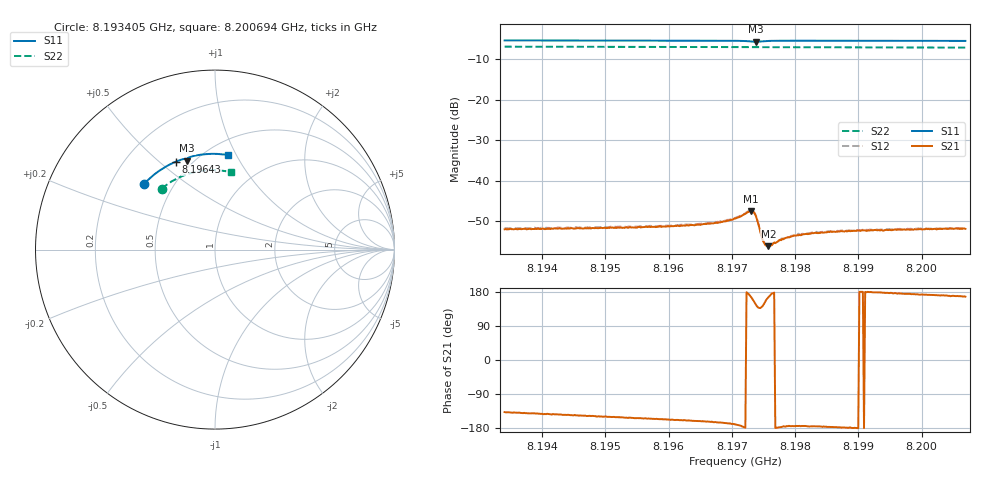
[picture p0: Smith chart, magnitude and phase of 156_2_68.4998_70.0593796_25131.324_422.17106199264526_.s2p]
#  HZ  S  RI  R  50.00
! Rohde & Schwarz Vector Network Analyzer
! Rohde-Schwarz,ZNB20-2Port,1311601062101988,3.16
! Created: UTC 3/20/2024, 5:10:44 PM
! freq[Hz]  re:S11  im:S11  re:S21  im:S21  re:S12  im:S12  re:S22  im:S22
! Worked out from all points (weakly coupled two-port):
!   401 points, 8.193405 GHz to 8.200694 GHz, reference 50 ohm
!   highest |S21| = -47.46 dB at 8.197305 GHz (marker M1); lowest = -56.1 dB at 8.197578 GHz (marker M2)
!   lowest |S11| = -5.7 dB at 8.197378 GHz (marker M3), VSWR 3.16, Z = 23.1 + j31.4 ohm
!   |S11| at or under -10 dB: nowhere
!   |S22| runs from -7.1 to -6.9 dB; largest |S21 - S12| = 0.00023
!   S11 on the Smith chart (normalised r, x): 8.193405 GHz: 0.34, +0.35; 8.19643 GHz: 0.41, +0.57; 8.200694 GHz: 0.63, +0.93
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8.1934053e9  -0.394 0.3677  -0.00186 -0.00171  -0.00196 -0.00167  -0.2977 0.3403
8.1946262e9  -0.3299 0.4252  -0.00218 -0.00142  -0.00225 -0.00138  -0.2419 0.3798
8.195847e9  -0.2571 0.4716  -0.00249 -0.00111  -0.00259 -0.001  -0.1807 0.4105
8.1964302e9  -0.2193 0.4896  -0.00271 -0.000935  -0.00281 -0.000822  -0.15 0.4216
8.1968128e9  -0.1931 0.4996  -0.00296 -0.000806  -0.00309 -0.000719  -0.1292 0.4277
8.1970497e9  -0.1751 0.5046  -0.00336 -0.000607  -0.00346 -0.000501  -0.1162 0.431
8.1972684e9  -0.1557 0.5034  -0.00413 0.000471  -0.00421 0.000629  -0.1042 0.4335
8.1973048e9  -0.1533 0.5008  -0.00411 0.00103  -0.00413 0.00123  -0.1021 0.4339
8.1973413e9  -0.1527 0.4978  -0.00379 0.00163  -0.00378 0.00183  -0.1001 0.4342
8.1973777e9  -0.1546 0.496  -0.00309 0.00206  -0.00307 0.00223  -0.0983 0.4346
8.1974142e9  -0.1572 0.4969  -0.00226 0.00198  -0.00223 0.00213  -0.0963 0.435
8.1974688e9  -0.1577 0.5019  -0.00157 0.00134  -0.00158 0.00141  -0.0934 0.4356
8.1975053e9  -0.1561 0.5051  -0.00147 0.000945  -0.00144 0.00101  -0.0915 0.436
8.1975417e9  -0.1537 0.5079  -0.00148 0.000585  -0.00145 0.000709  -0.0894 0.4364
8.1975782e9  -0.1511 0.5101  -0.00151 0.000395  -0.00153 0.000418  -0.0874 0.4369
8.1977968e9  -0.134 0.5173  -0.00191 -0.000124  -0.00195 -5.28e-05  -0.0751 0.4388
8.1978697e9  -0.1286 0.519  -0.00199 -0.000198  -0.00202 -7.11e-05  -0.071 0.4393
8.1980155e9  -0.1178 0.5217  -0.0021 -0.000219  -0.00213 -0.000155  -0.0627 0.4403
8.1982706e9  -0.0995 0.5254  -0.00226 -0.000192  -0.00231 -9.79e-05  -0.0484 0.4416
8.1987079e9  -0.0682 0.5301  -0.00238 -9.84e-05  -0.00243 -3.19e-06  -0.0236 0.4429
8.1994915e9  -0.0126 0.5335  -0.00248 0.000156  -0.00254 0.000251  0.0209 0.4416
8.2006942e9  0.0723 0.5273  -0.0025 0.000571  -0.00254 0.000671  0.0884 0.4309
